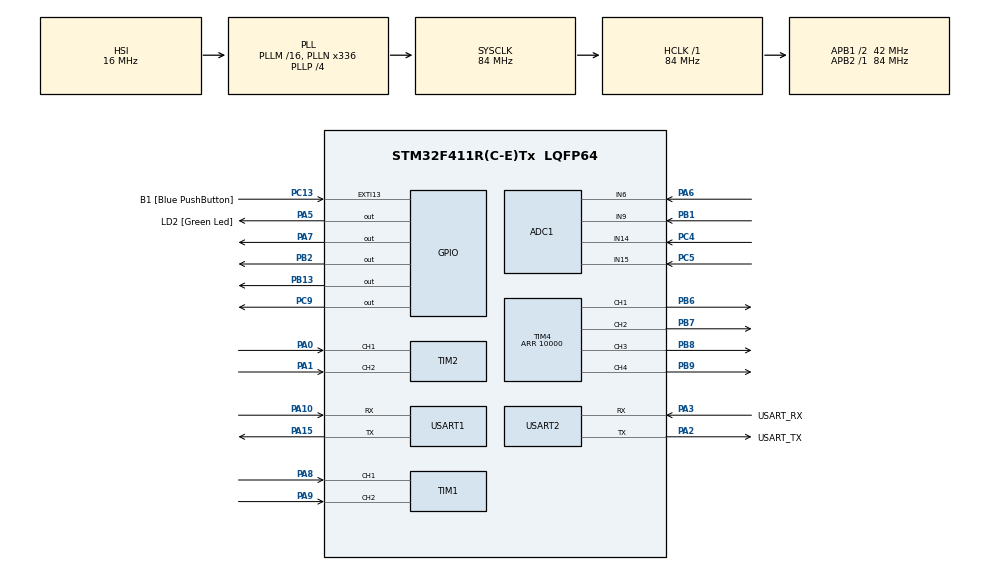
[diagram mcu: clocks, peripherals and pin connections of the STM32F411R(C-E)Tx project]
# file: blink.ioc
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ADC1.Channel-0\#ChannelRegularConversion=ADC_CHANNEL_15
ADC1.ContinuousConvMode=ENABLE
ADC1.DMAContinuousRequests=ENABLE
ADC1.NbrOfConversionFlag=1
ADC1.Rank-0\#ChannelRegularConversion=1
ADC1.SamplingTime-0\#ChannelRegularConversion=ADC_SAMPLETIME_3CYCLES
ADC1.master=1
Dma.ADC1.0.Direction=DMA_PERIPH_TO_MEMORY
Dma.ADC1.0.FIFOMode=DMA_FIFOMODE_DISABLE
Dma.ADC1.0.Instance=DMA2_Stream0
Dma.ADC1.0.MemDataAlignment=DMA_MDATAALIGN_HALFWORD
Dma.ADC1.0.MemInc=DMA_MINC_ENABLE
Dma.ADC1.0.Mode=DMA_CIRCULAR
Dma.ADC1.0.PeriphDataAlignment=DMA_PDATAALIGN_HALFWORD
Dma.ADC1.0.PeriphInc=DMA_PINC_DISABLE
Dma.ADC1.0.Priority=DMA_PRIORITY_LOW
Dma.Request0=ADC1
Mcu.Family=STM32F4
Mcu.Name=STM32F411R(C-E)Tx
Mcu.Package=LQFP64
NVIC.DMA2_Stream0_IRQn=true\:0\:0\:false\:false\:true\:false\:true\:true
NVIC.PriorityGroup=NVIC_PRIORITYGROUP_0
PA0-WKUP.Signal=S_TIM2_CH1_ETR
PA1.Signal=S_TIM2_CH2
PA10.Mode=Asynchronous
PA10.Signal=USART1_RX
PA11.Signal=USART1_CTS
PA13.GPIO_Label=TMS
PA13.Mode=Serial_Wire
PA13.Signal=SYS_JTMS-SWDIO
PA14.GPIO_Label=TCK
PA14.Mode=Serial_Wire
PA14.Signal=SYS_JTCK-SWCLK
PA15.Mode=Asynchronous
PA15.Signal=USART1_TX
PA2.GPIO_Label=USART_TX
PA2.Mode=Asynchronous
PA2.Signal=USART2_TX
PA3.GPIO_Label=USART_RX
PA3.Mode=Asynchronous
PA3.Signal=USART2_RX
PA5.GPIO_Label=LD2 [Green Led]
PA5.Signal=GPIO_Output
PA6.Signal=ADCx_IN6
PA7.Signal=GPIO_Output
PA8.Signal=S_TIM1_CH1
PA9.Signal=S_TIM1_CH2
PB1.Signal=ADCx_IN9
PB13.Signal=GPIO_Output
PB2.Signal=GPIO_Output
PB3.GPIO_Label=SWO
PB3.Signal=SYS_JTDO-SWO
PB6.Signal=S_TIM4_CH1
PB7.Signal=S_TIM4_CH2
PB8.Signal=S_TIM4_CH3
PB9.Signal=S_TIM4_CH4
PC13-ANTI_TAMP.GPIO_Label=B1 [Blue PushButton]
PC13-ANTI_TAMP.GPIO_ModeDefaultEXTI=GPIO_MODE_IT_FALLING
PC13-ANTI_TAMP.Signal=GPXTI13
PC14-OSC32_IN.Mode=LSE-External-Oscillator
PC14-OSC32_IN.Signal=RCC_OSC32_IN
PC15-OSC32_OUT.Mode=LSE-External-Oscillator
PC15-OSC32_OUT.Signal=RCC_OSC32_OUT
PC4.Signal=ADCx_IN14
PC5.Signal=ADCx_IN15
PC9.Signal=GPIO_Output
PH0\ -\ OSC_IN.Mode=HSE-External-Clock-Source
PH0\ -\ OSC_IN.Signal=RCC_OSC_IN
PH1\ -\ OSC_OUT.Mode=HSE-External-Clock-Source
PH1\ -\ OSC_OUT.Signal=RCC_OSC_OUT
ProjectManager.HeapSize=0x200
ProjectManager.StackSize=0x400
ProjectManager.TargetToolchain=STM32CubeIDE
RCC.48MHZClocksFreq_Value=84000000
RCC.AHBFreq_Value=84000000
RCC.APB1CLKDivider=RCC_HCLK_DIV2
RCC.APB1Freq_Value=42000000
RCC.APB1TimFreq_Value=84000000
RCC.APB2Freq_Value=84000000
RCC.APB2TimFreq_Value=84000000
RCC.CortexFreq_Value=84000000
RCC.FLatency-AdvancedSettings=FLASH_LATENCY_2
RCC.HCLKFreq_Value=84000000
RCC.HSE_VALUE=8000000
RCC.HSI_VALUE=16000000
RCC.PLLN=336
RCC.PLLP=RCC_PLLP_DIV4
RCC.SYSCLKFreq_VALUE=84000000
RCC.SYSCLKSource=RCC_SYSCLKSOURCE_PLLCLK
RCC.VCOOutputFreq_Value=336000000
SH.ADCx_IN14.0=ADC1_IN14,IN14
SH.ADCx_IN15.0=ADC1_IN15,IN15
SH.ADCx_IN6.0=ADC1_IN6,IN6
SH.ADCx_IN9.0=ADC1_IN9,IN9
SH.S_TIM1_CH1.0=TIM1_CH1,Encoder_Interface
SH.S_TIM1_CH2.0=TIM1_CH2,Encoder_Interface
SH.S_TIM2_CH1_ETR.0=TIM2_CH1,Encoder_Interface
SH.S_TIM2_CH2.0=TIM2_CH2,Encoder_Interface
SH.S_TIM4_CH1.0=TIM4_CH1,PWM Generation1 CH1
SH.S_TIM4_CH2.0=TIM4_CH2,PWM Generation2 CH2
SH.S_TIM4_CH3.0=TIM4_CH3,PWM Generation3 CH3
SH.S_TIM4_CH4.0=TIM4_CH4,PWM Generation4 CH4
TIM1.EncoderMode=TIM_ENCODERMODE_TI12
TIM2.ClockDivision=TIM_CLOCKDIVISION_DIV1
TIM4.Channel-PWM\ Generation1\ CH1=TIM_CHANNEL_1
TIM4.Channel-PWM\ Generation2\ CH2=TIM_CHANNEL_2
TIM4.Channel-PWM\ Generation3\ CH3=TIM_CHANNEL_3
TIM4.Channel-PWM\ Generation4\ CH4=TIM_CHANNEL_4
TIM4.Period=10000
USART1.VirtualMode=VM_ASYNC
USART2.VirtualMode=VM_ASYNC
board=NUCLEO-F411RE

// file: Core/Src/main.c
/* USER CODE BEGIN Header */
/**
  ******************************************************************************
  * @file           : main.c
  * @brief          : Main program body
  ******************************************************************************
  * @attention
  *
  * Copyright (c) 2024 STMicroelectronics.
  * All rights reserved.
  *
  * This software is licensed under terms that can be found in the LICENSE file
  * in the root directory of this software component.
  * If no LICENSE file comes with this software, it is provided AS-IS.
  *
  ******************************************************************************
  */
/* USER CODE END Header */
#include "main.h"

/* USER CODE BEGIN Includes */
#include "motors.h"
#include "encoders.h"
#include "start_button.h"
/* USER CODE END Includes */

ADC_HandleTypeDef hadc1;
DMA_HandleTypeDef hdma_adc1;

TIM_HandleTypeDef htim1;
TIM_HandleTypeDef htim2;
TIM_HandleTypeDef htim4;

UART_HandleTypeDef huart1;
UART_HandleTypeDef huart2;

/* USER CODE BEGIN PV */

GPIO_PinState enabled = GPIO_PIN_SET;
int16_t left_counts = 0;
int16_t right_counts = 0;

/* USER CODE END PV */

void SystemClock_Config(void);
static void MX_GPIO_Init(void);
static void MX_DMA_Init(void);
static void MX_USART2_UART_Init(void);
static void MX_TIM1_Init(void);
static void MX_TIM2_Init(void);
static void MX_TIM4_Init(void);
static void MX_USART1_UART_Init(void);
static void MX_ADC1_Init(void);

int main(void)
{

  /* MCU Configuration--------------------------------------------------------*/

  /* Reset of all peripherals, Initializes the Flash interface and the Systick. */
  HAL_Init();

  /* Configure the system clock */
  SystemClock_Config();

  /* Initialize all configured peripherals */
  MX_GPIO_Init();
  MX_DMA_Init();
  MX_USART2_UART_Init();
  MX_TIM1_Init();
  MX_TIM2_Init();
  MX_TIM4_Init();
  MX_USART1_UART_Init();
  MX_ADC1_Init();
  /* USER CODE BEGIN 2 */

   /* Configure the system clock */
   SystemClock_Config();

   //motor encoders initialization
    HAL_TIM_Encoder_Start(&htim1, TIM_CHANNEL_ALL);
    HAL_TIM_Encoder_Start(&htim2, TIM_CHANNEL_ALL);

    //motor int16 initialization

  //  left_counts = (int16_t) TIM1->CNT;
  //  right_counts = (int16_t) TIM2->CNT;

    //motor initialization
    HAL_TIM_PWM_Start(&htim4, TIM_CHANNEL_1);
    HAL_TIM_PWM_Start(&htim4, TIM_CHANNEL_2);
    HAL_TIM_PWM_Start(&htim4, TIM_CHANNEL_3);
    HAL_TIM_PWM_Start(&htim4, TIM_CHANNEL_4);

    HAL_GPIO_WritePin(LD2_GPIO_Port, LD2_Pin, GPIO_PIN_SET);

//    enabled = HAL_GPIO_ReadPin(B1_GPIO_Port, B1_Pin);
//    while (enabled == GPIO_PIN_SET) {
//
//    	enabled = HAL_GPIO_ReadPin(B1_GPIO_Port, B1_Pin);
//    }

    wait_for_start_button();
	HAL_Delay(100);
	HAL_GPIO_WritePin(LD2_GPIO_Port, LD2_Pin, GPIO_PIN_RESET);

  /* USER CODE END 2 */

  /* Infinite loop */
  /* USER CODE BEGIN WHILE */
  while (1)
  {
	move_backward(.8);

	left_counts = getLeftEncoderCounts();
	right_counts = getRightEncoderCounts();

//	HAL_GPIO_WritePin(LD2_GPIO_Port, LD2_Pin, GPIO_PIN_RESET);
//
//	HAL_Delay(100);
//
//	HAL_GPIO_WritePin(LD2_GPIO_Port, LD2_Pin, GPIO_PIN_SET);
//
//	HAL_Delay(100);
    /* USER CODE END WHILE */

  }
}

void SystemClock_Config(void)
{
  RCC_OscInitTypeDef RCC_OscInitStruct = {0};
  RCC_ClkInitTypeDef RCC_ClkInitStruct = {0};

  /** Configure the main internal regulator output voltage
  */
  __HAL_RCC_PWR_CLK_ENABLE();
  __HAL_PWR_VOLTAGESCALING_CONFIG(PWR_REGULATOR_VOLTAGE_SCALE1);

  /** Initializes the RCC Oscillators according to the specified parameters
  * in the RCC_OscInitTypeDef structure.
  */
  RCC_OscInitStruct.OscillatorType = RCC_OSCILLATORTYPE_HSI;
  RCC_OscInitStruct.HSIState = RCC_HSI_ON;
  RCC_OscInitStruct.HSICalibrationValue = RCC_HSICALIBRATION_DEFAULT;
  RCC_OscInitStruct.PLL.PLLState = RCC_PLL_ON;
  RCC_OscInitStruct.PLL.PLLSource = RCC_PLLSOURCE_HSI;
  RCC_OscInitStruct.PLL.PLLM = 16;
  RCC_OscInitStruct.PLL.PLLN = 336;
  RCC_OscInitStruct.PLL.PLLP = RCC_PLLP_DIV4;
  RCC_OscInitStruct.PLL.PLLQ = 4;
  if (HAL_RCC_OscConfig(&RCC_OscInitStruct) != HAL_OK)
  {
    Error_Handler();
  }

  /** Initializes the CPU, AHB and APB buses clocks
  */
  RCC_ClkInitStruct.ClockType = RCC_CLOCKTYPE_HCLK|RCC_CLOCKTYPE_SYSCLK
                              |RCC_CLOCKTYPE_PCLK1|RCC_CLOCKTYPE_PCLK2;
  RCC_ClkInitStruct.SYSCLKSource = RCC_SYSCLKSOURCE_PLLCLK;
  RCC_ClkInitStruct.AHBCLKDivider = RCC_SYSCLK_DIV1;
  RCC_ClkInitStruct.APB1CLKDivider = RCC_HCLK_DIV2;
  RCC_ClkInitStruct.APB2CLKDivider = RCC_HCLK_DIV1;

  if (HAL_RCC_ClockConfig(&RCC_ClkInitStruct, FLASH_LATENCY_2) != HAL_OK)
  {
    Error_Handler();
  }
}

static void MX_ADC1_Init(void)
{

  ADC_ChannelConfTypeDef sConfig = {0};

  /** Configure the global features of the ADC (Clock, Resolution, Data Alignment and number of conversion)
  */
  hadc1.Instance = ADC1;
  hadc1.Init.ClockPrescaler = ADC_CLOCK_SYNC_PCLK_DIV4;
  hadc1.Init.Resolution = ADC_RESOLUTION_12B;
  hadc1.Init.ScanConvMode = DISABLE;
  hadc1.Init.ContinuousConvMode = ENABLE;
  hadc1.Init.DiscontinuousConvMode = DISABLE;
  hadc1.Init.ExternalTrigConvEdge = ADC_EXTERNALTRIGCONVEDGE_NONE;
  hadc1.Init.ExternalTrigConv = ADC_SOFTWARE_START;
  hadc1.Init.DataAlign = ADC_DATAALIGN_RIGHT;
  hadc1.Init.NbrOfConversion = 1;
  hadc1.Init.DMAContinuousRequests = ENABLE;
  hadc1.Init.EOCSelection = ADC_EOC_SINGLE_CONV;
  if (HAL_ADC_Init(&hadc1) != HAL_OK)
  {
    Error_Handler();
  }

  /** Configure for the selected ADC regular channel its corresponding rank in the sequencer and its sample time.
  */
  sConfig.Channel = ADC_CHANNEL_15;
  sConfig.Rank = 1;
  sConfig.SamplingTime = ADC_SAMPLETIME_3CYCLES;
  if (HAL_ADC_ConfigChannel(&hadc1, &sConfig) != HAL_OK)
  {
    Error_Handler();
  }

}

static void MX_TIM1_Init(void)
{

  TIM_Encoder_InitTypeDef sConfig = {0};
  TIM_MasterConfigTypeDef sMasterConfig = {0};

  htim1.Instance = TIM1;
  htim1.Init.Prescaler = 0;
  htim1.Init.CounterMode = TIM_COUNTERMODE_UP;
  htim1.Init.Period = 65535;
  htim1.Init.ClockDivision = TIM_CLOCKDIVISION_DIV1;
  htim1.Init.RepetitionCounter = 0;
  htim1.Init.AutoReloadPreload = TIM_AUTORELOAD_PRELOAD_DISABLE;
  sConfig.EncoderMode = TIM_ENCODERMODE_TI12;
  sConfig.IC1Polarity = TIM_ICPOLARITY_RISING;
  sConfig.IC1Selection = TIM_ICSELECTION_DIRECTTI;
  sConfig.IC1Prescaler = TIM_ICPSC_DIV1;
  sConfig.IC1Filter = 0;
  sConfig.IC2Polarity = TIM_ICPOLARITY_RISING;
  sConfig.IC2Selection = TIM_ICSELECTION_DIRECTTI;
  sConfig.IC2Prescaler = TIM_ICPSC_DIV1;
  sConfig.IC2Filter = 0;
  if (HAL_TIM_Encoder_Init(&htim1, &sConfig) != HAL_OK)
  {
    Error_Handler();
  }
  sMasterConfig.MasterOutputTrigger = TIM_TRGO_RESET;
  sMasterConfig.MasterSlaveMode = TIM_MASTERSLAVEMODE_DISABLE;
  if (HAL_TIMEx_MasterConfigSynchronization(&htim1, &sMasterConfig) != HAL_OK)
  {
    Error_Handler();
  }

}

static void MX_TIM2_Init(void)
{

  TIM_Encoder_InitTypeDef sConfig = {0};
  TIM_MasterConfigTypeDef sMasterConfig = {0};

  htim2.Instance = TIM2;
  htim2.Init.Prescaler = 0;
  htim2.Init.CounterMode = TIM_COUNTERMODE_UP;
  htim2.Init.Period = 4294967295;
  htim2.Init.ClockDivision = TIM_CLOCKDIVISION_DIV1;
  htim2.Init.AutoReloadPreload = TIM_AUTORELOAD_PRELOAD_DISABLE;
  sConfig.EncoderMode = TIM_ENCODERMODE_TI1;
  sConfig.IC1Polarity = TIM_ICPOLARITY_RISING;
  sConfig.IC1Selection = TIM_ICSELECTION_DIRECTTI;
  sConfig.IC1Prescaler = TIM_ICPSC_DIV1;
  sConfig.IC1Filter = 0;
  sConfig.IC2Polarity = TIM_ICPOLARITY_RISING;
  sConfig.IC2Selection = TIM_ICSELECTION_DIRECTTI;
  sConfig.IC2Prescaler = TIM_ICPSC_DIV1;
  sConfig.IC2Filter = 0;
  if (HAL_TIM_Encoder_Init(&htim2, &sConfig) != HAL_OK)
  {
    Error_Handler();
  }
  sMasterConfig.MasterOutputTrigger = TIM_TRGO_RESET;
  sMasterConfig.MasterSlaveMode = TIM_MASTERSLAVEMODE_DISABLE;
  if (HAL_TIMEx_MasterConfigSynchronization(&htim2, &sMasterConfig) != HAL_OK)
  {
    Error_Handler();
  }

}

static void MX_TIM4_Init(void)
{

  TIM_MasterConfigTypeDef sMasterConfig = {0};
  TIM_OC_InitTypeDef sConfigOC = {0};

  htim4.Instance = TIM4;
  htim4.Init.Prescaler = 0;
  htim4.Init.CounterMode = TIM_COUNTERMODE_UP;
  htim4.Init.Period = 10000;
  htim4.Init.ClockDivision = TIM_CLOCKDIVISION_DIV1;
  htim4.Init.AutoReloadPreload = TIM_AUTORELOAD_PRELOAD_DISABLE;
  if (HAL_TIM_PWM_Init(&htim4) != HAL_OK)
  {
    Error_Handler();
  }
  sMasterConfig.MasterOutputTrigger = TIM_TRGO_RESET;
  sMasterConfig.MasterSlaveMode = TIM_MASTERSLAVEMODE_DISABLE;
  if (HAL_TIMEx_MasterConfigSynchronization(&htim4, &sMasterConfig) != HAL_OK)
  {
    Error_Handler();
  }
  sConfigOC.OCMode = TIM_OCMODE_PWM1;
  sConfigOC.Pulse = 0;
  sConfigOC.OCPolarity = TIM_OCPOLARITY_HIGH;
  sConfigOC.OCFastMode = TIM_OCFAST_DISABLE;
  if (HAL_TIM_PWM_ConfigChannel(&htim4, &sConfigOC, TIM_CHANNEL_1) != HAL_OK)
  {
    Error_Handler();
  }
  if (HAL_TIM_PWM_ConfigChannel(&htim4, &sConfigOC, TIM_CHANNEL_2) != HAL_OK)
  {
    Error_Handler();
  }
  if (HAL_TIM_PWM_ConfigChannel(&htim4, &sConfigOC, TIM_CHANNEL_3) != HAL_OK)
  {
    Error_Handler();
  }
  if (HAL_TIM_PWM_ConfigChannel(&htim4, &sConfigOC, TIM_CHANNEL_4) != HAL_OK)
  {
    Error_Handler();
  }
  HAL_TIM_MspPostInit(&htim4);

}

static void MX_USART1_UART_Init(void)
{

  huart1.Instance = USART1;
  huart1.Init.BaudRate = 115200;
  huart1.Init.WordLength = UART_WORDLENGTH_8B;
  huart1.Init.StopBits = UART_STOPBITS_1;
  huart1.Init.Parity = UART_PARITY_NONE;
  huart1.Init.Mode = UART_MODE_TX_RX;
  huart1.Init.HwFlowCtl = UART_HWCONTROL_NONE;
  huart1.Init.OverSampling = UART_OVERSAMPLING_16;
  if (HAL_UART_Init(&huart1) != HAL_OK)
  {
    Error_Handler();
  }

}

static void MX_USART2_UART_Init(void)
{

  huart2.Instance = USART2;
  huart2.Init.BaudRate = 115200;
  huart2.Init.WordLength = UART_WORDLENGTH_8B;
  huart2.Init.StopBits = UART_STOPBITS_1;
  huart2.Init.Parity = UART_PARITY_NONE;
  huart2.Init.Mode = UART_MODE_TX_RX;
  huart2.Init.HwFlowCtl = UART_HWCONTROL_NONE;
  huart2.Init.OverSampling = UART_OVERSAMPLING_16;
  if (HAL_UART_Init(&huart2) != HAL_OK)
  {
    Error_Handler();
  }

}

static void MX_DMA_Init(void)
{

  /* DMA controller clock enable */
  __HAL_RCC_DMA2_CLK_ENABLE();

  /* DMA interrupt init */
  /* DMA2_Stream0_IRQn interrupt configuration */
  HAL_NVIC_SetPriority(DMA2_Stream0_IRQn, 0, 0);
  HAL_NVIC_EnableIRQ(DMA2_Stream0_IRQn);

}

static void MX_GPIO_Init(void)
{
  GPIO_InitTypeDef GPIO_InitStruct = {0};

  /* GPIO Ports Clock Enable */
  __HAL_RCC_GPIOC_CLK_ENABLE();
  __HAL_RCC_GPIOH_CLK_ENABLE();
  __HAL_RCC_GPIOA_CLK_ENABLE();
  __HAL_RCC_GPIOB_CLK_ENABLE();

  /*Configure GPIO pin Output Level */
  HAL_GPIO_WritePin(GPIOA, LD2_Pin|GPIO_PIN_7, GPIO_PIN_RESET);

  /*Configure GPIO pin Output Level */
  HAL_GPIO_WritePin(GPIOB, GPIO_PIN_2|GPIO_PIN_13, GPIO_PIN_RESET);

  /*Configure GPIO pin Output Level */
  HAL_GPIO_WritePin(GPIOC, GPIO_PIN_9, GPIO_PIN_RESET);

  /*Configure GPIO pin : B1_Pin */
  GPIO_InitStruct.Pin = B1_Pin;
  GPIO_InitStruct.Mode = GPIO_MODE_IT_FALLING;
  GPIO_InitStruct.Pull = GPIO_NOPULL;
  HAL_GPIO_Init(B1_GPIO_Port, &GPIO_InitStruct);

  /*Configure GPIO pins : LD2_Pin PA7 */
  GPIO_InitStruct.Pin = LD2_Pin|GPIO_PIN_7;
  GPIO_InitStruct.Mode = GPIO_MODE_OUTPUT_PP;
  GPIO_InitStruct.Pull = GPIO_NOPULL;
  GPIO_InitStruct.Speed = GPIO_SPEED_FREQ_LOW;
  HAL_GPIO_Init(GPIOA, &GPIO_InitStruct);

  /*Configure GPIO pins : PB2 PB13 */
  GPIO_InitStruct.Pin = GPIO_PIN_2|GPIO_PIN_13;
  GPIO_InitStruct.Mode = GPIO_MODE_OUTPUT_PP;
  GPIO_InitStruct.Pull = GPIO_NOPULL;
  GPIO_InitStruct.Speed = GPIO_SPEED_FREQ_LOW;
  HAL_GPIO_Init(GPIOB, &GPIO_InitStruct);

  /*Configure GPIO pin : PC9 */
  GPIO_InitStruct.Pin = GPIO_PIN_9;
  GPIO_InitStruct.Mode = GPIO_MODE_OUTPUT_PP;
  GPIO_InitStruct.Pull = GPIO_NOPULL;
  GPIO_InitStruct.Speed = GPIO_SPEED_FREQ_LOW;
  HAL_GPIO_Init(GPIOC, &GPIO_InitStruct);

}

void Error_Handler(void)
{
  __disable_irq();
  while (1)
  {
  }
}
